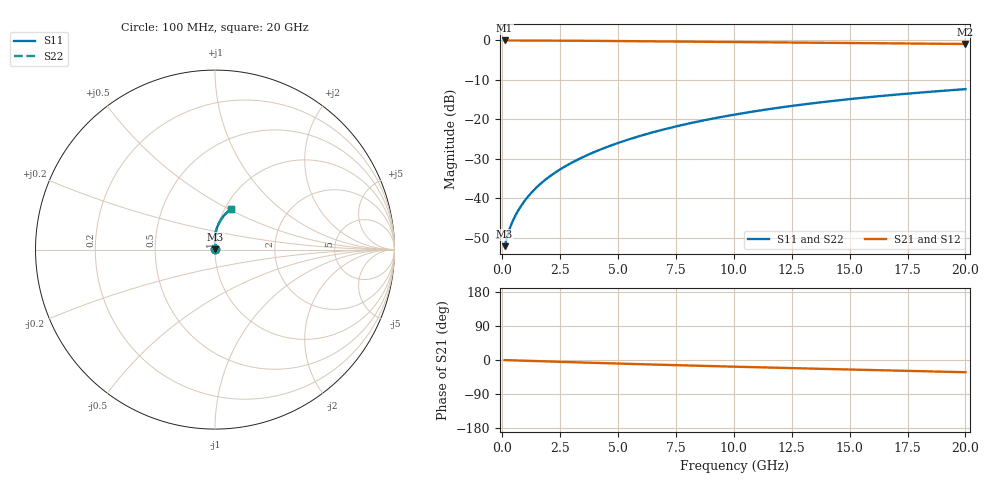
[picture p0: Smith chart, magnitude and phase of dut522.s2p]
! Touchstone file exported from HFSS 2024.1.0
!  File:  C:/UserFiles/LocalFiles/RDL_TSV_Batchsim/temp_RDL_top_522_1779679856.aedt
!  Generated:  11:32:48 AM May 25, 2026
!  Design:  RDL_top
!  Project:  temp_RDL_top_522_1779679856
!  Setup:  Setup1
!  Solution:  Sweep
! Variables:
!  dtsv = 10.80580581um
!  hbump = 3um
!  htsv = 65.64um
!  ldown = 100um
!  lrdl = 504.56um
!  p = 40
!  p1 = 42.88um
!  rhole = 1um
!  t = 450um
!  tdown = 3.915915916um
!  trdl = 3.58um
!  wdown = 15.38538539um
!  wrdl = 25.73um
# GHz S MA R 50.000000
! Terminal data exported
! Port[1] = Box2_T1
! Port[2] = Box2_T2
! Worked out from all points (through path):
!   200 points, 100 MHz to 20 GHz, reference 50 ohm
!   highest |S21| = -0.02 dB at 100 MHz (marker M1); lowest = -0.9 dB at 20 GHz (marker M2)
!   group delay of S21, straight-line fit = 4.42 ps
!   lowest |S11| = -52.2 dB at 100 MHz (marker M3), VSWR 1.00, Z = 50.2 + j0.114 ohm
!   |S11| at or under -10 dB: start of sweep to end of sweep
!   |S22| runs from -52.2 to -12.4 dB; largest |S21 - S12| = 3.3e-15
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0.1  0.002461 27.4  0.9978 -0.2  0.9978 -0.2  0.002461 27.4
! Gamma 0 0 0 0
! Port Impedance 50 0 50 0
0.2  0.003188 42.6  0.9976 -0.4  0.9976 -0.4  0.003188 42.6
0.3  0.003966 51.1  0.9974 -0.6  0.9974 -0.6  0.003966 51.1
0.4  0.004734 56.8  0.9972 -0.8  0.9972 -0.8  0.004735 56.8
0.5  0.005502 61.2  0.9971 -1.0  0.9971 -1.0  0.005502 61.2
0.8  0.007877 70.1  0.9966 -1.6  0.9966 -1.6  0.007877 70.1
1  0.009531 74.1  0.9963 -2.0  0.9963 -2.0  0.009531 74.0
1.2  0.01123 77.0  0.9959 -2.4  0.9959 -2.4  0.01123 77.0
1.7  0.01566 81.9  0.9948 -3.3  0.9948 -3.3  0.01566 81.9
2.2  0.02029 84.9  0.9933 -4.3  0.9933 -4.3  0.02029 84.9
2.8  0.02613 87.3  0.9912 -5.4  0.9912 -5.4  0.02613 87.3
3.5  0.03332 89.1  0.9883 -6.7  0.9883 -6.7  0.03331 89.0
4.2  0.04091 90.1  0.9849 -8.0  0.9849 -8.0  0.04089 90.0
5  0.05005 90.5  0.9808 -9.4  0.9808 -9.4  0.05003 90.5
5.9  0.06085 90.5  0.9758 -11.0  0.9758 -11.0  0.06082 90.5
6.8  0.07211 89.9  0.9706 -12.5  0.9706 -12.5  0.07207 89.9
8.4  0.09289 88.2  0.9613 -15.1  0.9613 -15.1  0.09283 88.2
10.1  0.1155 85.7  0.9517 -17.8  0.9517 -17.8  0.1155 85.7
11.7  0.1369 83.1  0.9429 -20.2  0.9429 -20.2  0.1368 83.1
13.4  0.1594 80.2  0.9338 -22.8  0.9338 -22.8  0.1593 80.2
16.7  0.2015 74.5  0.9169 -27.6  0.9169 -27.6  0.2014 74.4
20  0.2409 68.9  0.9006 -32.3  0.9006 -32.3  0.2407 68.9
